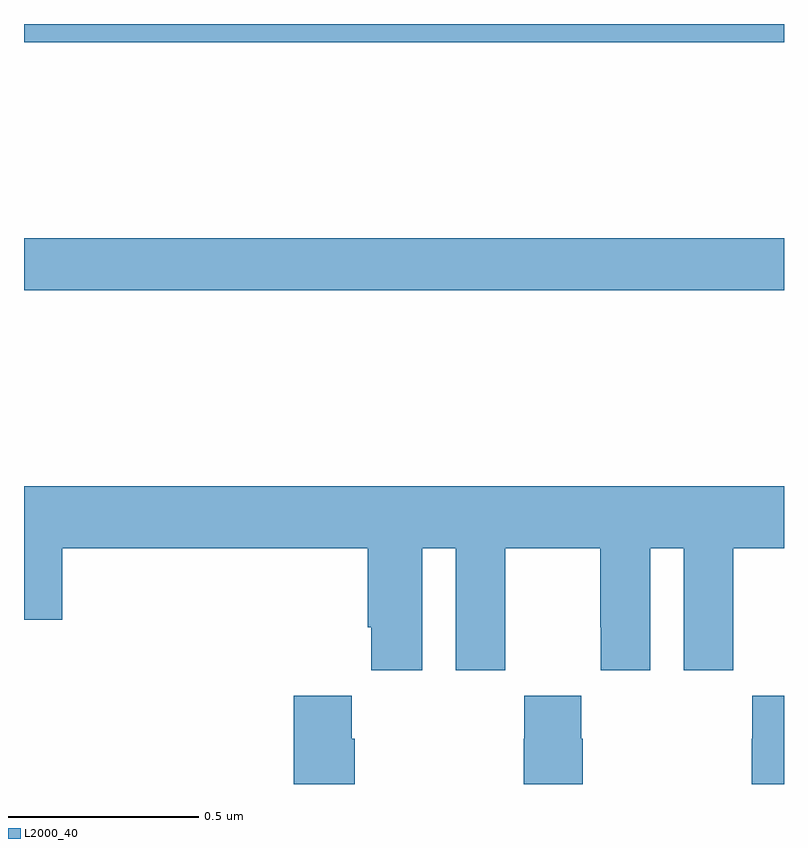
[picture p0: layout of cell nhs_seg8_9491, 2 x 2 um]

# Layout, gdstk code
import gdstk
lib = gdstk.Library(unit=1e-6, precision=1e-09)
def R(c, l, rs):  # rectangles x0, y0, x1, y1
    for r in rs: c.add(gdstk.rectangle(r[:2], r[2:], *l))
def P(c, l, *ps):  # polygons
    for p in ps: c.add(gdstk.Polygon(p, *l))
L2000_40 = (2000, 40)

nhs_seg8_9491 = lib.new_cell('nhs_seg8_9491')
R(nhs_seg8_9491, L2000_40, [(237,1097.2,239,1097.336), (237,1097.852,239,1097.9)])
P(nhs_seg8_9491, L2000_40, [(238.048,1096.52),(238.136,1096.52),(238.136,1096.2),(238.266,1096.2),(238.266,1096.312),(238.267,1096.312),(238.267,1096.52),(238.517,1096.52),(238.517,1096.312),(238.518,1096.312),(238.518,1096.2),(238.648,1096.2),(238.648,1096.52),(238.736,1096.52),(238.736,1096.2),(238.866,1096.2),(238.866,1096.312),(238.867,1096.312),(238.867,1096.52),(239,1096.52),(239,1096.684),(237,1096.684),(237,1096.332),(237.1,1096.332),(237.1,1096.52),(237.905,1096.52),(237.905,1096.312),(237.914,1096.312),(237.914,1096.2),(238.048,1096.2)],
  [(237.87,1096.019),(237.863,1096.019),(237.863,1096.132),(237.71,1096.132),(237.71,1095.9),(237.87,1095.9)],
  [(238.47,1096.019),(238.467,1096.019),(238.467,1096.132),(238.317,1096.132),(238.317,1096.019),(238.315,1096.019),(238.315,1095.9),(238.47,1095.9)],
  [(239,1096.132),(238.917,1096.132),(238.917,1096.019),(238.915,1096.019),(238.915,1095.9),(239,1095.9)])

lib.write_gds('nhs_seg8_9491.gds')
